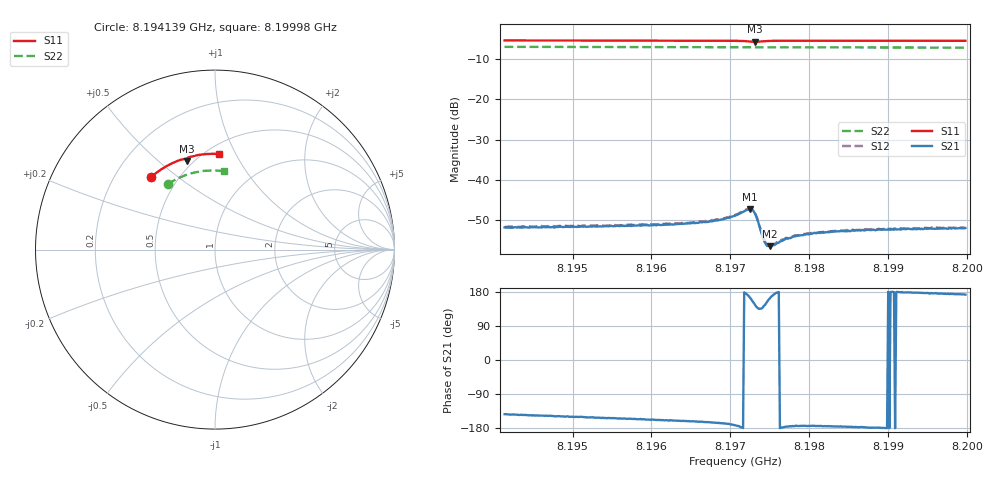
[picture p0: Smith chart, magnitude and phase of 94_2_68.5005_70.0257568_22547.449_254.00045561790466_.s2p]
#  HZ  S  RI  R  50.00
! Rohde & Schwarz Vector Network Analyzer
! Rohde-Schwarz,ZNB20-2Port,1311601062101988,3.16
! Created: UTC 3/20/2024, 4:52:47 PM
! freq[Hz]  re:S11  im:S11  re:S21  im:S21  re:S12  im:S12  re:S22  im:S22
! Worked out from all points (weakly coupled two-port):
!   401 points, 8.194139 GHz to 8.19998 GHz, reference 50 ohm
!   highest |S21| = -47.21 dB at 8.197249 GHz (marker M1); lowest = -56.4 dB at 8.197498 GHz (marker M2)
!   lowest |S11| = -5.7 dB at 8.197308 GHz (marker M3), VSWR 3.15, Z = 23.1 + j31.2 ohm
!   |S11| at or under -10 dB: nowhere
!   |S22| runs from -7.1 to -7.0 dB; largest |S21 - S12| = 0.00023
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8.194139e9  -0.3561 0.4042  -0.00207 -0.00156  -0.00217 -0.00152  -0.2624 0.3643
8.1951174e9  -0.301 0.4459  -0.00231 -0.00134  -0.0024 -0.00127  -0.2154 0.3921
8.1960958e9  -0.2405 0.4801  -0.0026 -0.00103  -0.00269 -0.000977  -0.1653 0.414
8.1967238e9  -0.1983 0.4981  -0.00291 -0.000825  -0.00302 -0.00073  -0.1317 0.425
8.1969136e9  -0.1844 0.5024  -0.00319 -0.000742  -0.00325 -0.000589  -0.1214 0.4277
8.1970597e9  -0.1724 0.5048  -0.00357 -0.00049  -0.00366 -0.000349  -0.1134 0.4295
8.1972057e9  -0.1586 0.5027  -0.00422 0.000424  -0.00427 0.000628  -0.1054 0.4313
8.1972495e9  -0.1556 0.4992  -0.0042 0.00116  -0.00422 0.00135  -0.103 0.4316
8.1972787e9  -0.1554 0.4964  -0.00387 0.00172  -0.00388 0.00195  -0.1015 0.4318
8.1973079e9  -0.1569 0.4942  -0.0033 0.00213  -0.00328 0.00231  -0.1001 0.4321
8.1973371e9  -0.1597 0.4944  -0.00253 0.00222  -0.00249 0.00239  -0.0985 0.4323
8.1974101e9  -0.1615 0.5014  -0.00149 0.00134  -0.00143 0.0014  -0.0945 0.4334
8.1974393e9  -0.1602 0.5041  -0.00138 0.000961  -0.00136 0.00103  -0.0928 0.4338
8.1974685e9  -0.1583 0.5064  -0.00137 0.000654  -0.00137 0.000729  -0.0914 0.434
8.1974978e9  -0.1562 0.5083  -0.00144 0.000477  -0.00145 0.000495  -0.0898 0.4343
8.1975562e9  -0.1515 0.5113  -0.00155 0.000176  -0.0016 0.000229  -0.0864 0.435
8.197673e9  -0.1421 0.5153  -0.00179 -7.61e-05  -0.00184 -2.25e-05  -0.0801 0.4361
8.1978044e9  -0.1322 0.5184  -0.002 -0.000192  -0.00202 -0.000115  -0.0725 0.4371
8.1980381e9  -0.1151 0.5226  -0.00214 -0.000244  -0.0022 -0.000143  -0.0594 0.4387
8.1983593e9  -0.0921 0.527  -0.0023 -0.00018  -0.00236 -8.5e-05  -0.0414 0.4403
8.1990165e9  -0.0454 0.5326  -0.00244 -4.99e-06  -0.00247 0.000109  -0.00416 0.4411
8.1999803e9  0.0229 0.5328  -0.00252 0.000333  -0.00255 0.00041  0.0502 0.4363
